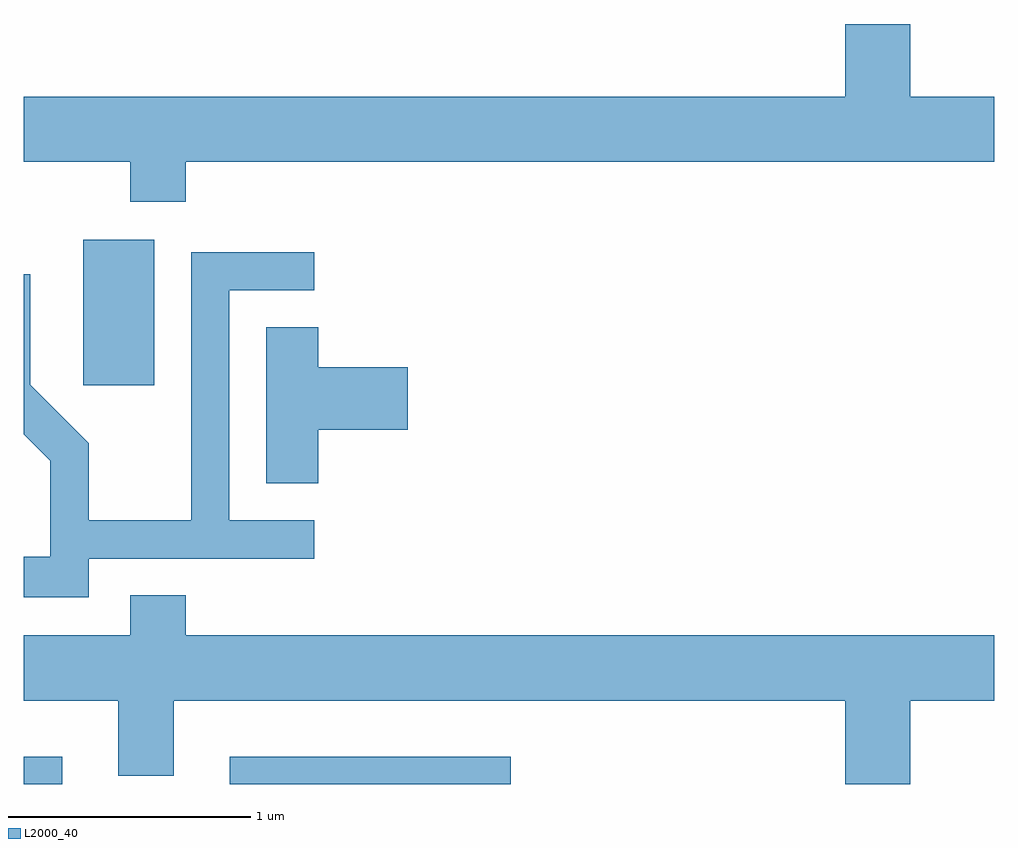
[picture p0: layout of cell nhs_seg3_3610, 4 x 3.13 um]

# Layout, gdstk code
import gdstk
lib = gdstk.Library(unit=1e-6, precision=1e-09)
def R(c, l, rs):  # rectangles x0, y0, x1, y1
    for r in rs: c.add(gdstk.rectangle(r[:2], r[2:], *l))
def P(c, l, *ps):  # polygons
    for p in ps: c.add(gdstk.Polygon(p, *l))
L2000_40 = (2000, 40)

nhs_seg3_3610 = lib.new_cell('nhs_seg3_3610')
R(nhs_seg3_3610, L2000_40, [(291.611,1127.892,291.769,1128.004), (292.461,1127.892,293.618,1128.004), (291.856,1129.536,292.149,1130.134)])
P(nhs_seg3_3610, L2000_40, [(292.279,1130.456),(295.611,1130.456),(295.611,1130.724),(295.264,1130.724),(295.264,1131.024),(294.996,1131.024),(294.996,1130.724),(291.611,1130.724),(291.611,1130.456),(292.051,1130.456),(292.051,1130.291),(292.279,1130.291)],
  [(291.879,1128.821),(292.808,1128.821),(292.808,1128.979),(292.459,1128.979),(292.459,1129.926),(292.808,1129.926),(292.808,1130.084),(292.301,1130.084),(292.301,1128.979),(291.879,1128.979),(291.879,1129.297),(291.639,1129.537),(291.639,1129.993),(291.611,1129.993),(291.611,1129.334),(291.721,1129.224),(291.721,1128.829),(291.611,1128.829),(291.611,1128.661),(291.879,1128.661)],
  [(292.824,1129.351),(293.194,1129.351),(293.194,1129.609),(292.824,1129.609),(292.824,1129.774),(292.611,1129.774),(292.611,1129.131),(292.824,1129.131)],
  [(295.264,1128.236),(295.611,1128.236),(295.611,1128.504),(292.279,1128.504),(292.279,1128.669),(292.051,1128.669),(292.051,1128.504),(291.611,1128.504),(291.611,1128.236),(292.001,1128.236),(292.001,1127.926),(292.229,1127.926),(292.229,1128.236),(294.996,1128.236),(294.996,1127.892),(295.264,1127.892)])

lib.write_gds('nhs_seg3_3610.gds')
